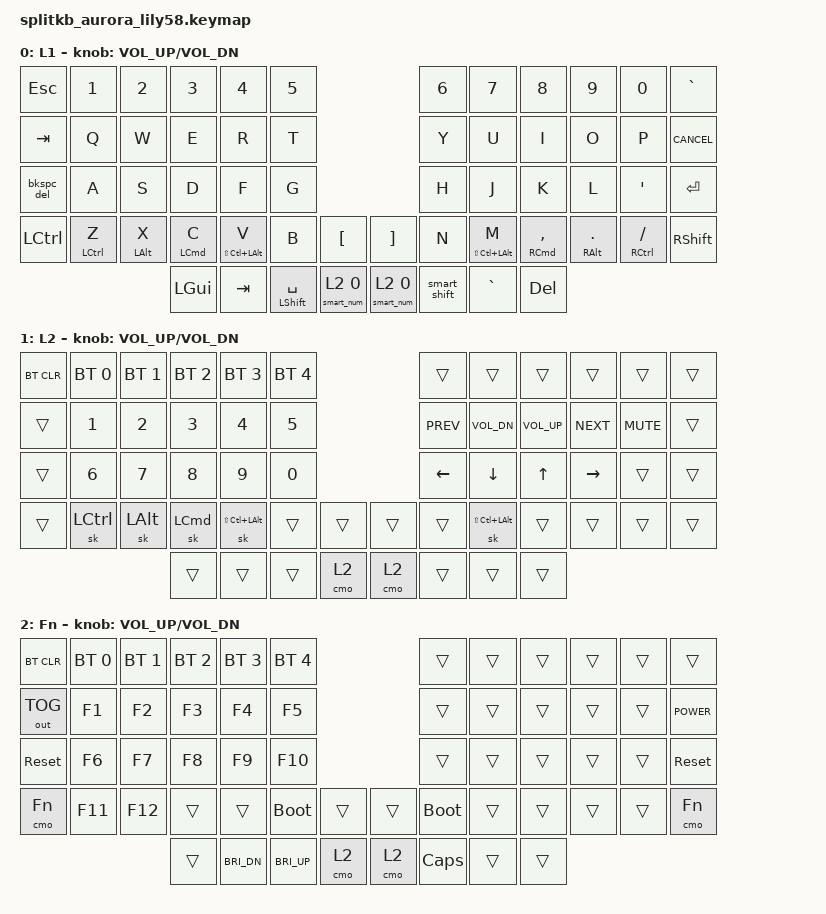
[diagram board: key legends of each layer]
/*
 * Copyright (c) 2022 The ZMK Contributors
 * ok
 * SPDX-License-Identifier: MIT
 */

// ZMK Core Includes
#include <behaviors.dtsi>
#include <dt-bindings/zmk/keys.h>
#include <dt-bindings/zmk/bt.h>
#include <dt-bindings/zmk/outputs.h>

// Layers
#define L1 0
#define L2 1
#define Fn 2

// Meh key
#define MEH LS(LC(LALT))

// Behaviors Constants
#define TAPPING_TERM_MS 280
#define QUICK_TAP_MS 175
#define GLOBAL_QUICK_TAP_MS 150

// Combos Constants
#define COMBO_TERM_DEFAULT 30
#define COMBO_QUICK_TAP_MS 100

#include "behaviors.dtsi"
#include "macros.dtsi"
#include "combos.dtsi"

/ {
    keymap {
        compatible = "zmk,keymap";
        layer_1 {
            label = "L1";
            bindings = <
        // ╭───────────────┬───────────────┬───────────────┬───────────────┬───────────────┬───────────────╮                                  ╭───────────────┬───────────────┬───────────────┬───────────────┬───────────────┬───────────────╮
        //  0               1               2               3               4               5                                                   6               7               8               9               10              11
            &kp ESC         &kp N1          &kp N2          &kp N3          &kp N4          &kp N5                                              &kp N6          &kp N7          &kp N8          &kp N9          &kp N0          &kp GRAVE
        // ├───────────────├───────────────┼───────────────┼───────────────┼───────────────┼───────────────┤                                  ├───────────────├───────────────┼───────────────┼───────────────┼───────────────┼───────────────┤
        //  12              13              14              15              16              17                                                  18              19              20              21              22              23
            &kp TAB         &kp Q           &kp W           &kp E           &kp R           &kp T                                               &kp Y           &kp U           &kp I           &kp O           &kp P           &kp K_CANCEL
        // ├───────────────├───────────────┼───────────────┼───────────────┼───────────────┼───────────────┤                                  ├───────────────├───────────────┼───────────────┼───────────────┼───────────────┼───────────────┤
        //  24              25              26              27              28              29                                                  30              31              32              33              34              35
            &bkspc_del      &kp A           &kp S           &kp D           &kp F           &kp G                                               &kp H           &kp J           &kp K           &kp L           &kp SQT         &kp ENTER
        // ├───────────────├───────────────┼───────────────┼───────────────┼───────────────┼───────────────┤───────────────┤   ├──────────────├───────────────├───────────────┼───────────────┼───────────────┼───────────────┼───────────────┤
        //  36              37              38              39              40              41              42                  43              44              45              46             47              48              49
            &kp LCTRL         &mt LCTRL Z     &mt LALT X      &mt LCMD C      &mt MEH V       &kp B           &kp LBKT            &kp RBKT        &kp N           &mt MEH M       &mt RCMD COMMA  &mt RALT DOT   &mt RCTRL SLASH &kp RSHFT
        // ╰───────────────┴───────────────┴───────────────┼───────────────┼───────────────┼───────────────┤───────────────┤   ├──────────────├───────────────├───────────────┼───────────────┼───────────────┴───────────────┴───────────────╯
        //                                                  50              51              52              53                   54             55              56              57
                                                            &kp LGUI        &kp TAB         &mt LSHFT SPACE &smart_num L2 0     &smart_num L2 0 &smart_shift    &kp GRAVE       &kp DEL
        //                                                 ╰───────────────┴───────────────┴───────────────┴───────────────╯   ╰──────────────┴───────────────┴───────────────┴───────────────╯
            >;

            sensor-bindings = <&inc_dec_kp C_VOL_UP C_VOL_DN>;
        };
        layer_2 {
            label = "L2";
            bindings = <
        // ╭───────────────┬───────────────┬───────────────┬───────────────┬───────────────┬───────────────╮                                  ╭───────────────┬───────────────┬───────────────┬───────────────┬───────────────┬───────────────╮
        //  0               1               2               3               4               5                                                   6               7               8               9               10              11
            &bt BT_CLR      &bt BT_SEL 0    &bt BT_SEL 1    &bt BT_SEL 2    &bt BT_SEL 3    &bt BT_SEL 4                                        &trans          &trans          &trans          &trans          &trans          &trans
        // ├───────────────├───────────────┼───────────────┼───────────────┼───────────────┼───────────────┤                                  ├───────────────├───────────────┼───────────────┼───────────────┼───────────────┼───────────────┤
        //  12              13              14              15              16              17                                                  18              19              20              21              22              23
            &trans          &kp N1          &kp N2          &kp N3          &kp N4          &kp N5                                              &kp C_PREV      &kp C_VOL_DN    &kp C_VOL_UP    &kp C_NEXT      &kp C_MUTE      &trans
        // ├───────────────├───────────────┼───────────────┼───────────────┼───────────────┼───────────────┤                                  ├───────────────├───────────────┼───────────────┼───────────────┼───────────────┼───────────────┤
        //  24              25              26              27              28              29                                                  30              31              32              33              34              35
            &trans          &kp N6          &kp N7          &kp N8          &kp N9          &kp N0                                              &kp LEFT        &kp DOWN        &kp UP          &kp RIGHT       &trans          &trans
        // ├───────────────├───────────────┼───────────────┼───────────────┼───────────────┼───────────────┤───────────────┤   ├──────────────├───────────────├───────────────┼───────────────┼───────────────┼───────────────┼───────────────┤
        //  36              37              38              39              40              41              42                  43              44              45              46             47              48              49
            &trans          &sk LCTRL       &sk LALT        &sk LCMD        &sk MEH         &trans          &trans              &trans          &trans          &sk MEH         &trans          &trans          &trans          &trans
        // ╰───────────────┴───────────────┴───────────────┼───────────────┼───────────────┼───────────────┤───────────────┤   ├──────────────├───────────────├───────────────┼───────────────┼───────────────┴───────────────┴───────────────╯
        //                                                  50              51              52              53                   54             55              56              57
                                                            &trans          &trans          &trans          &cmo L2             &cmo L2         &trans          &trans         &trans
        //                                                 ╰───────────────┴───────────────┴───────────────┴───────────────╯   ╰──────────────┴───────────────┴───────────────┴───────────────╯
            >;

            sensor-bindings = <&inc_dec_kp C_VOL_UP C_VOL_DN>;
        };

        layer_3 {
            label = "Fn";
            bindings = <
        // ╭───────────────┬───────────────┬───────────────┬───────────────┬───────────────┬───────────────╮                                  ╭───────────────┬───────────────┬───────────────┬───────────────┬───────────────┬───────────────╮
        //  0               1               2               3               4               5                                                   6               7               8               9               10              11
            &bt BT_CLR      &bt BT_SEL 0    &bt BT_SEL 1    &bt BT_SEL 2    &bt BT_SEL 3    &bt BT_SEL 4                                        &trans          &trans          &trans          &trans          &trans          &trans
        // ├───────────────├───────────────┼───────────────┼───────────────┼───────────────┼───────────────┤                                  ├───────────────├───────────────┼───────────────┼───────────────┼───────────────┼───────────────┤
        //  12              13              14              15              16              17                                                  18              19              20              21              22              23
            &out OUT_TOG    &kp F1          &kp F2          &kp F3          &kp F4          &kp F5                                              &trans          &trans          &trans          &trans          &trans          &kp C_POWER
        // ├───────────────├───────────────┼───────────────┼───────────────┼───────────────┼───────────────┤                                  ├───────────────├───────────────┼───────────────┼───────────────┼───────────────┼───────────────┤
        //  24              25              26              27              28              29                                                  30              31              32              33              34              35
            &sys_reset      &kp F6          &kp F7          &kp F8          &kp F9          &kp F10                                             &trans          &trans          &trans          &trans          &trans          &sys_reset
        // ├───────────────├───────────────┼───────────────┼───────────────┼───────────────┼───────────────┤───────────────┤   ├──────────────├───────────────├───────────────┼───────────────┼───────────────┼───────────────┼───────────────┤
        //  36              37              38              39              40              41              42                  43              44              45              46             47              48              49
            &cmo Fn         &kp F11         &kp F12         &trans          &trans          &bootloader     &trans              &trans          &bootloader     &trans          &trans         &trans          &trans          &cmo Fn
        // ╰───────────────┴───────────────┴───────────────┼───────────────┼───────────────┼───────────────┤───────────────┤   ├──────────────├───────────────├───────────────┼───────────────┼───────────────┴───────────────┴───────────────╯
        //                                                  50              51              52              53                   54             55              56              57
                                                            &trans          &kp C_BRI_DN    &kp C_BRI_UP    &cmo L2             &cmo L2        &kp CAPSLOCK    &trans          &trans          
        //                                                 ╰───────────────┴───────────────┴───────────────┴───────────────╯   ╰──────────────┴───────────────┴───────────────┴───────────────╯
            >;

            sensor-bindings = <&inc_dec_kp C_VOL_UP C_VOL_DN>;
        };
        
    };
};

&nice_view_spi {
    cs-gpios = <&pro_micro 4 GPIO_ACTIVE_HIGH>;
};

&left_encoder {
    status = "disabled";
};

&right_encoder {
    status = "disabled";
};

/ {
  chosen {
    zmk,matrix_transform = &default_transform;
  };
};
